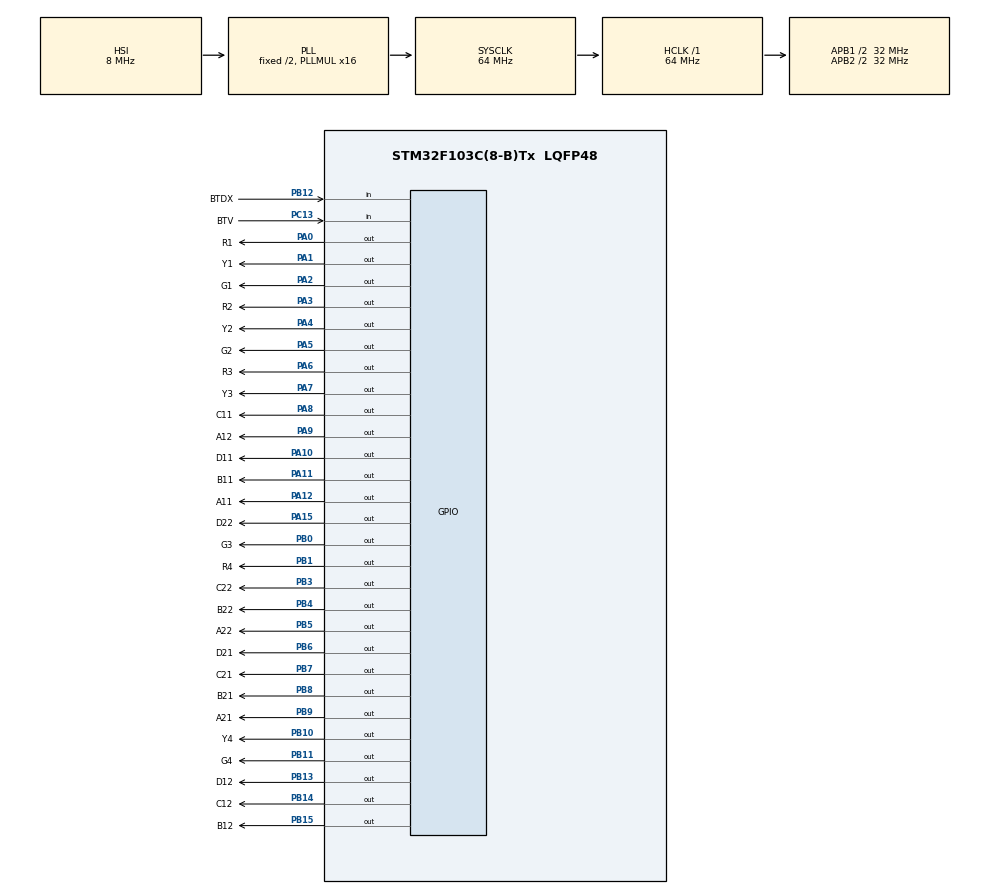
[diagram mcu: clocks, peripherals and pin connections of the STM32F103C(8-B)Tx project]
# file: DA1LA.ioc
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Mcu.Family=STM32F1
Mcu.Name=STM32F103C(8-B)Tx
Mcu.Package=LQFP48
NVIC.PriorityGroup=NVIC_PRIORITYGROUP_4
NVIC.TIM2_IRQn=true\:0\:0\:false\:false\:true\:true\:true
NVIC.TIM3_IRQn=true\:0\:0\:false\:false\:true\:true\:true
PA0-WKUP.GPIO_Label=R1
PA0-WKUP.GPIO_ModeDefaultOutputPP=GPIO_MODE_OUTPUT_PP
PA0-WKUP.GPIO_PuPd=GPIO_NOPULL
PA0-WKUP.GPIO_Speed=GPIO_SPEED_FREQ_HIGH
PA0-WKUP.PinState=GPIO_PIN_RESET
PA0-WKUP.Signal=GPIO_Output
PA1.GPIO_Label=Y1
PA1.GPIO_ModeDefaultOutputPP=GPIO_MODE_OUTPUT_PP
PA1.GPIO_PuPd=GPIO_NOPULL
PA1.GPIO_Speed=GPIO_SPEED_FREQ_HIGH
PA1.PinState=GPIO_PIN_RESET
PA1.Signal=GPIO_Output
PA10.GPIO_Label=D11
PA10.GPIO_ModeDefaultOutputPP=GPIO_MODE_OUTPUT_PP
PA10.GPIO_PuPd=GPIO_NOPULL
PA10.GPIO_Speed=GPIO_SPEED_FREQ_HIGH
PA10.PinState=GPIO_PIN_RESET
PA10.Signal=GPIO_Output
PA11.GPIO_Label=B11
PA11.GPIO_ModeDefaultOutputPP=GPIO_MODE_OUTPUT_PP
PA11.GPIO_PuPd=GPIO_NOPULL
PA11.GPIO_Speed=GPIO_SPEED_FREQ_HIGH
PA11.PinState=GPIO_PIN_RESET
PA11.Signal=GPIO_Output
PA12.GPIO_Label=A11
PA12.GPIO_ModeDefaultOutputPP=GPIO_MODE_OUTPUT_PP
PA12.GPIO_PuPd=GPIO_NOPULL
PA12.GPIO_Speed=GPIO_SPEED_FREQ_HIGH
PA12.PinState=GPIO_PIN_RESET
PA12.Signal=GPIO_Output
PA13.Mode=Serial_Wire
PA13.Signal=SYS_JTMS-SWDIO
PA14.Mode=Serial_Wire
PA14.Signal=SYS_JTCK-SWCLK
PA15.GPIO_Label=D22
PA15.GPIO_ModeDefaultOutputPP=GPIO_MODE_OUTPUT_PP
PA15.GPIO_PuPd=GPIO_NOPULL
PA15.GPIO_Speed=GPIO_SPEED_FREQ_HIGH
PA15.PinState=GPIO_PIN_RESET
PA15.Signal=GPIO_Output
PA2.GPIO_Label=G1
PA2.GPIO_ModeDefaultOutputPP=GPIO_MODE_OUTPUT_PP
PA2.GPIO_PuPd=GPIO_NOPULL
PA2.GPIO_Speed=GPIO_SPEED_FREQ_HIGH
PA2.PinState=GPIO_PIN_RESET
PA2.Signal=GPIO_Output
PA3.GPIO_Label=R2
PA3.GPIO_ModeDefaultOutputPP=GPIO_MODE_OUTPUT_PP
PA3.GPIO_PuPd=GPIO_NOPULL
PA3.GPIO_Speed=GPIO_SPEED_FREQ_HIGH
PA3.PinState=GPIO_PIN_RESET
PA3.Signal=GPIO_Output
PA4.GPIO_Label=Y2
PA4.GPIO_ModeDefaultOutputPP=GPIO_MODE_OUTPUT_PP
PA4.GPIO_PuPd=GPIO_NOPULL
PA4.GPIO_Speed=GPIO_SPEED_FREQ_HIGH
PA4.PinState=GPIO_PIN_RESET
PA4.Signal=GPIO_Output
PA5.GPIO_Label=G2
PA5.GPIO_ModeDefaultOutputPP=GPIO_MODE_OUTPUT_PP
PA5.GPIO_PuPd=GPIO_NOPULL
PA5.GPIO_Speed=GPIO_SPEED_FREQ_HIGH
PA5.PinState=GPIO_PIN_RESET
PA5.Signal=GPIO_Output
PA6.GPIO_Label=R3
PA6.GPIO_ModeDefaultOutputPP=GPIO_MODE_OUTPUT_PP
PA6.GPIO_PuPd=GPIO_NOPULL
PA6.GPIO_Speed=GPIO_SPEED_FREQ_HIGH
PA6.PinState=GPIO_PIN_RESET
PA6.Signal=GPIO_Output
PA7.GPIO_Label=Y3
PA7.GPIO_ModeDefaultOutputPP=GPIO_MODE_OUTPUT_PP
PA7.GPIO_PuPd=GPIO_NOPULL
PA7.GPIO_Speed=GPIO_SPEED_FREQ_HIGH
PA7.PinState=GPIO_PIN_RESET
PA7.Signal=GPIO_Output
PA8.GPIO_Label=C11
PA8.GPIO_ModeDefaultOutputPP=GPIO_MODE_OUTPUT_PP
PA8.GPIO_PuPd=GPIO_NOPULL
PA8.GPIO_Speed=GPIO_SPEED_FREQ_HIGH
PA8.PinState=GPIO_PIN_RESET
PA8.Signal=GPIO_Output
PA9.GPIO_Label=A12
PA9.GPIO_ModeDefaultOutputPP=GPIO_MODE_OUTPUT_PP
PA9.GPIO_PuPd=GPIO_NOPULL
PA9.GPIO_Speed=GPIO_SPEED_FREQ_HIGH
PA9.PinState=GPIO_PIN_RESET
PA9.Signal=GPIO_Output
PB0.GPIO_Label=G3
PB0.GPIO_ModeDefaultOutputPP=GPIO_MODE_OUTPUT_PP
PB0.GPIO_PuPd=GPIO_NOPULL
PB0.GPIO_Speed=GPIO_SPEED_FREQ_HIGH
PB0.PinState=GPIO_PIN_RESET
PB0.Signal=GPIO_Output
PB1.GPIO_Label=R4
PB1.GPIO_ModeDefaultOutputPP=GPIO_MODE_OUTPUT_PP
PB1.GPIO_PuPd=GPIO_NOPULL
PB1.GPIO_Speed=GPIO_SPEED_FREQ_HIGH
PB1.PinState=GPIO_PIN_RESET
PB1.Signal=GPIO_Output
PB10.GPIO_Label=Y4
PB10.GPIO_ModeDefaultOutputPP=GPIO_MODE_OUTPUT_PP
PB10.GPIO_PuPd=GPIO_NOPULL
PB10.GPIO_Speed=GPIO_SPEED_FREQ_HIGH
PB10.PinState=GPIO_PIN_RESET
PB10.Signal=GPIO_Output
PB11.GPIO_Label=G4
PB11.GPIO_ModeDefaultOutputPP=GPIO_MODE_OUTPUT_PP
PB11.GPIO_PuPd=GPIO_NOPULL
PB11.GPIO_Speed=GPIO_SPEED_FREQ_HIGH
PB11.PinState=GPIO_PIN_RESET
PB11.Signal=GPIO_Output
PB12.GPIO_Label=BTDX
PB12.GPIO_PuPd=GPIO_PULLUP
PB12.Signal=GPIO_Input
PB13.GPIO_Label=D12
PB13.GPIO_ModeDefaultOutputPP=GPIO_MODE_OUTPUT_PP
PB13.GPIO_PuPd=GPIO_NOPULL
PB13.GPIO_Speed=GPIO_SPEED_FREQ_HIGH
PB13.PinState=GPIO_PIN_RESET
PB13.Signal=GPIO_Output
PB14.GPIO_Label=C12
PB14.GPIO_ModeDefaultOutputPP=GPIO_MODE_OUTPUT_PP
PB14.GPIO_PuPd=GPIO_NOPULL
PB14.GPIO_Speed=GPIO_SPEED_FREQ_HIGH
PB14.PinState=GPIO_PIN_RESET
PB14.Signal=GPIO_Output
PB15.GPIO_Label=B12
PB15.GPIO_ModeDefaultOutputPP=GPIO_MODE_OUTPUT_PP
PB15.GPIO_PuPd=GPIO_NOPULL
PB15.GPIO_Speed=GPIO_SPEED_FREQ_HIGH
PB15.PinState=GPIO_PIN_RESET
PB15.Signal=GPIO_Output
PB3.GPIO_Label=C22
PB3.GPIO_ModeDefaultOutputPP=GPIO_MODE_OUTPUT_PP
PB3.GPIO_PuPd=GPIO_NOPULL
PB3.GPIO_Speed=GPIO_SPEED_FREQ_HIGH
PB3.PinState=GPIO_PIN_RESET
PB3.Signal=GPIO_Output
PB4.GPIO_Label=B22
PB4.GPIO_ModeDefaultOutputPP=GPIO_MODE_OUTPUT_PP
PB4.GPIO_PuPd=GPIO_NOPULL
PB4.GPIO_Speed=GPIO_SPEED_FREQ_HIGH
PB4.PinState=GPIO_PIN_RESET
PB4.Signal=GPIO_Output
PB5.GPIO_Label=A22
PB5.GPIO_ModeDefaultOutputPP=GPIO_MODE_OUTPUT_PP
PB5.GPIO_PuPd=GPIO_NOPULL
PB5.GPIO_Speed=GPIO_SPEED_FREQ_HIGH
PB5.PinState=GPIO_PIN_RESET
PB5.Signal=GPIO_Output
PB6.GPIO_Label=D21
PB6.GPIO_ModeDefaultOutputPP=GPIO_MODE_OUTPUT_PP
PB6.GPIO_PuPd=GPIO_NOPULL
PB6.GPIO_Speed=GPIO_SPEED_FREQ_HIGH
PB6.PinState=GPIO_PIN_RESET
PB6.Signal=GPIO_Output
PB7.GPIO_Label=C21
PB7.GPIO_ModeDefaultOutputPP=GPIO_MODE_OUTPUT_PP
PB7.GPIO_PuPd=GPIO_NOPULL
PB7.GPIO_Speed=GPIO_SPEED_FREQ_HIGH
PB7.PinState=GPIO_PIN_RESET
PB7.Signal=GPIO_Output
PB8.GPIO_Label=B21
PB8.GPIO_ModeDefaultOutputPP=GPIO_MODE_OUTPUT_PP
PB8.GPIO_PuPd=GPIO_NOPULL
PB8.GPIO_Speed=GPIO_SPEED_FREQ_HIGH
PB8.PinState=GPIO_PIN_RESET
PB8.Signal=GPIO_Output
PB9.GPIO_Label=A21
PB9.GPIO_ModeDefaultOutputPP=GPIO_MODE_OUTPUT_PP
PB9.GPIO_PuPd=GPIO_NOPULL
PB9.GPIO_Speed=GPIO_SPEED_FREQ_HIGH
PB9.PinState=GPIO_PIN_RESET
PB9.Signal=GPIO_Output
PC13-TAMPER-RTC.GPIO_Label=BTV
PC13-TAMPER-RTC.GPIO_PuPd=GPIO_PULLUP
PC13-TAMPER-RTC.Signal=GPIO_Input
ProjectManager.HeapSize=0x200
ProjectManager.StackSize=0x400
ProjectManager.TargetToolchain=EWARM V8.32
RCC.AHBFreq_Value=64000000
RCC.APB1CLKDivider=RCC_HCLK_DIV2
RCC.APB1Freq_Value=32000000
RCC.APB1TimFreq_Value=64000000
RCC.APB2CLKDivider=RCC_HCLK_DIV2
RCC.APB2Freq_Value=32000000
RCC.APB2TimFreq_Value=64000000
RCC.HCLKFreq_Value=64000000
RCC.PLLMUL=RCC_PLL_MUL16
RCC.SYSCLKFreq_VALUE=64000000
RCC.SYSCLKSource=RCC_SYSCLKSOURCE_PLLCLK
RCC.USBFreq_Value=64000000
TIM2.Period=19999
TIM2.Prescaler=64
TIM3.Period=1999
TIM3.Prescaler=23000
VP_TIM2_VS_ClockSourceINT.Mode=Internal
VP_TIM3_VS_ClockSourceINT.Mode=Internal
board=custom

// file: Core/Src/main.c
/* USER CODE BEGIN Header */
/**
  ******************************************************************************
  * @file           : main.c
  * @brief          : Main program body
  ******************************************************************************
  * @attention
  *
  * <h2><center>&copy; Copyright (c) 2021 STMicroelectronics.
  * All rights reserved.</center></h2>
  *
  * This software component is licensed by ST under BSD 3-Clause license,
  * the "License"; You may not use this file except in compliance with the
  * License. You may obtain a copy of the License at:
  *                        opensource.org/licenses/BSD-3-Clause
  *
  ******************************************************************************
  */
/* USER CODE END Header */
#include "main.h"

/* USER CODE BEGIN Includes */
#include "stdbool.h"
//7447 РФNG -TВY
//HАNG CHUC
#define A11(state) HAL_GPIO_WritePin(A11_GPIO_Port,A11_Pin,(GPIO_PinState)state)
#define B11(state) HAL_GPIO_WritePin(B11_GPIO_Port,B11_Pin,(GPIO_PinState)state)
#define C11(state) HAL_GPIO_WritePin(C11_GPIO_Port,C11_Pin,(GPIO_PinState)state)
#define D11(state) HAL_GPIO_WritePin(D11_GPIO_Port,D11_Pin,(GPIO_PinState)state)
//HANG DON VI
#define A12(state) HAL_GPIO_WritePin(A12_GPIO_Port,A12_Pin,(GPIO_PinState)state)
#define B12(state) HAL_GPIO_WritePin(B12_GPIO_Port,B12_Pin,(GPIO_PinState)state)
#define C12(state) HAL_GPIO_WritePin(C12_GPIO_Port,C12_Pin,(GPIO_PinState)state)
#define D12(state) HAL_GPIO_WritePin(D12_GPIO_Port,D12_Pin,(GPIO_PinState)state)
//7447 NAM-BAC
//HANG CHUC
#define A21(state) HAL_GPIO_WritePin(A21_GPIO_Port,A21_Pin,(GPIO_PinState)state)
#define B21(state) HAL_GPIO_WritePin(B21_GPIO_Port,B21_Pin,(GPIO_PinState)state)
#define C21(state) HAL_GPIO_WritePin(C21_GPIO_Port,C21_Pin,(GPIO_PinState)state)
#define D21(state) HAL_GPIO_WritePin(D21_GPIO_Port,D21_Pin,(GPIO_PinState)state)
//HANG DON VI
#define A22(state) HAL_GPIO_WritePin(A22_GPIO_Port,A22_Pin,(GPIO_PinState)state)
#define B22(state) HAL_GPIO_WritePin(B22_GPIO_Port,B22_Pin,(GPIO_PinState)state)
#define C22(state) HAL_GPIO_WritePin(C22_GPIO_Port,C22_Pin,(GPIO_PinState)state)
#define D22(state) HAL_GPIO_WritePin(D22_GPIO_Port,D22_Pin,(GPIO_PinState)state)
//BUTTON
#define BTV HAL_GPIO_ReadPin(BTV_GPIO_Port,BTV_Pin)
#define BTDX HAL_GPIO_ReadPin(BTDX_GPIO_Port,BTDX_Pin)
//LED D-X-V
#define R1(state) HAL_GPIO_WritePin(R1_GPIO_Port,R1_Pin,(GPIO_PinState)state)
#define Y1(state) HAL_GPIO_WritePin(Y1_GPIO_Port,Y1_Pin,(GPIO_PinState)state)
#define G1(state) HAL_GPIO_WritePin(G1_GPIO_Port,G1_Pin,(GPIO_PinState)state)

#define R2(state) HAL_GPIO_WritePin(R2_GPIO_Port,R2_Pin,(GPIO_PinState)state)
#define Y2(state) HAL_GPIO_WritePin(Y2_GPIO_Port,Y2_Pin,(GPIO_PinState)state)
#define G2(state) HAL_GPIO_WritePin(G2_GPIO_Port,G2_Pin,(GPIO_PinState)state)

#define R3(state) HAL_GPIO_WritePin(R3_GPIO_Port,R3_Pin,(GPIO_PinState)state)
#define Y3(state) HAL_GPIO_WritePin(Y3_GPIO_Port,Y3_Pin,(GPIO_PinState)state)
#define G3(state) HAL_GPIO_WritePin(G3_GPIO_Port,G3_Pin,(GPIO_PinState)state)

#define R4(state) HAL_GPIO_WritePin(R4_GPIO_Port,R4_Pin,(GPIO_PinState)state)
#define Y4(state) HAL_GPIO_WritePin(Y4_GPIO_Port,Y4_Pin,(GPIO_PinState)state)
#define G4(state) HAL_GPIO_WritePin(G4_GPIO_Port,G4_Pin,(GPIO_PinState)state)
/* USER CODE END Includes */

TIM_HandleTypeDef htim2;
TIM_HandleTypeDef htim3;

/* USER CODE BEGIN PV */
int seven_seg_digits[10][4] = {
                                { 0,0,0,0 },  // = 0//D   C  B  A//
                                { 0,0,0,1 },  // = 1//MSB       LSB//
                                { 0,0,1,0 },  // = 2
                                { 0,0,1,1 },  // = 3
                                { 0,1,0,0 },  // = 4
                                { 0,1,0,1 },  // = 5
                                { 0,1,1,0 },  // = 6
                                { 0,1,1,1 },  // = 7
                                { 1,0,0,0 },  // = 8
                                { 1,0,0,1 }   // = 9
                              };
uint8_t btn[2],stepbtnv=0,stepbtndx=0;
uint8_t step_do1=true,step_vang1=false,step_xanh1=false;
uint8_t step_do2=false,step_vang2=false,step_xanh2=true;
uint8_t cnt1=30,cnt2=25,cnt3=5;
uint8_t cnt4=30,cnt5=25,cnt6=5;
/* USER CODE END PV */

void SystemClock_Config(void);
static void MX_GPIO_Init(void);
static void MX_TIM2_Init(void);
static void MX_TIM3_Init(void);
/* USER CODE BEGIN PFP */
void disp1(uint8_t digit);
void disp2(uint8_t digit);
/* USER CODE END PFP */

/* USER CODE BEGIN 0 */
void disp1(uint8_t digit)
{
    //hangchuc
    A11(seven_seg_digits[digit%10][3]);
    B11(seven_seg_digits[digit%10][2]);
    C11(seven_seg_digits[digit%10][1]);
    D11(seven_seg_digits[digit%10][0]);

    A21(seven_seg_digits[digit/10][3]);
    B21(seven_seg_digits[digit/10][2]);
    C21(seven_seg_digits[digit/10][1]);
    D21(seven_seg_digits[digit/10][0]);

}
void disp2(uint8_t digit)
{
      //hangdonvi
    A12(seven_seg_digits[digit%10][3]);
    B12(seven_seg_digits[digit%10][2]);
    C12(seven_seg_digits[digit%10][1]);
    D12(seven_seg_digits[digit%10][0]);

    A22(seven_seg_digits[digit/10][3]);
    B22(seven_seg_digits[digit/10][2]);
    C22(seven_seg_digits[digit/10][1]);
    D22(seven_seg_digits[digit/10][0]);
}
void den1(void)
{
    if(step_do1==true)
    {
      R1(1);R3(1);
      Y1(0);Y3(0);
      G1(0);G3(0);
      disp1(cnt1);
      if(cnt1==0)
      {
        disp1(0);
        step_xanh1=true;
        cnt1=30;
        step_do1=false;

      }
      else
      {
        cnt1--;
      }
    }
    if(step_xanh1==true)
    {
      R1(0);R3(0);
      Y1(0);Y3(0);
      G1(1);G3(1);
      disp1(cnt2);
      if(cnt2==0)
      {
        disp1(0);
        step_vang1=true;
        cnt2=25;
        step_xanh1=false;
      }
      else
      {
        cnt2--;
      }
    }
    if(step_vang1==true)
    {
      R1(0);R3(0);
      Y1(1);Y3(1);
      G1(0);G3(0);
      disp1(cnt3);
      if(cnt3==0)
      {
        disp1(0);
        step_do1=true;
        cnt3=5;
        step_vang1=false;
      }
      else
      {
        cnt3--;
      }
    }
}
void den2(void)
{
    if(step_do2==true)
    {
      R2(1);R4(1);
      Y2(0);Y4(0);
      G2(0);G4(0);
      disp2(cnt4);
      if(cnt4==0)
      {
        disp2(0);
        step_xanh2=true;
        cnt4=30;
        step_do2=false;

      }
      else
      {
        cnt4--;
      }
    }
    if(step_xanh2==true)
    {
      R2(0);R4(0);
      Y2(0);Y4(0);
      G2(1);G4(1);
      disp2(cnt5);
      if(cnt5==0)
      {
        disp2(0);
        step_vang2=true;
        cnt5=25;
        step_xanh2=false;
      }
      else
      {
        cnt5--;
      }
    }
    if(step_vang2==true)
    {
      R2(0);R4(0);
      Y2(1);Y4(1);
      G2(0);G4(0);
      disp2(cnt6);
      if(cnt6==0)
      {
        disp2(0);
        step_do2=true;
        cnt6=5;
        step_vang2=false;
      }
      else
      {
        cnt6--;
      }
    }
}
void HAL_TIM_PeriodElapsedCallback(TIM_HandleTypeDef *htim)
{
  if(htim->Instance==htim3.Instance)
  {
    if(stepbtnv==0&&stepbtndx==0)
    {
      den1();
      den2();
    }
    else if(stepbtnv==1)
    {
      disp1(0);
      disp2(0);
      R1(0);R3(0);
      Y1(1);Y3(1);
      G1(0);G3(0);

      R2(0);R4(0);
      Y2(1);Y4(1);
      G2(0);G4(0);
    }
    else if(stepbtndx==1)
    {
      disp1(0);
      disp2(0);
      R1(1);R3(1);
      Y1(0);Y3(0);
      G1(0);G3(0);

      R2(0);R4(0);
      Y2(0);Y4(0);
      G2(1);G4(1);
    }
    else if(stepbtndx==2)
    {
      disp1(0);
      disp2(0);
      R1(0);R3(0);
      Y1(0);Y3(0);
      G1(1);G3(1);

      R2(1);R4(1);
      Y2(0);Y4(0);
      G2(0);G4(0);
    }
  }
}
/* USER CODE END 0 */

int main(void)
{

  /* MCU Configuration--------------------------------------------------------*/

  /* Reset of all peripherals, Initializes the Flash interface and the Systick. */
  HAL_Init();

  /* Configure the system clock */
  SystemClock_Config();

  /* Initialize all configured peripherals */
  MX_GPIO_Init();
  MX_TIM2_Init();
  MX_TIM3_Init();
  /* USER CODE BEGIN 2 */
  disp1(0);
  disp2(0);
  HAL_Delay(1000);
  HAL_TIM_Base_Start_IT(&htim2);
  HAL_TIM_Base_Start_IT(&htim3);
  /* USER CODE END 2 */

  /* Infinite loop */
  while (1)
  {

    /* USER CODE BEGIN 3 */
    btn[0]=BTV;
    btn[1]=BTDX;
    if(BTV==0)
    {
      HAL_Delay(80);
      if(BTV==0)
      {
        stepbtnv++;
        stepbtndx=0;
      }
    }
    if(BTDX==0)
    {
      HAL_Delay(80);
      if(BTDX==0)
      {
        stepbtndx++;
        stepbtnv=0;
      }
    }
    if(stepbtnv>1)stepbtnv=0;
    if(stepbtndx>2)stepbtndx=0;
  }
  /* USER CODE END 3 */
}

void SystemClock_Config(void)
{
  RCC_OscInitTypeDef RCC_OscInitStruct = {0};
  RCC_ClkInitTypeDef RCC_ClkInitStruct = {0};

  /** Initializes the RCC Oscillators according to the specified parameters
  * in the RCC_OscInitTypeDef structure.
  */
  RCC_OscInitStruct.OscillatorType = RCC_OSCILLATORTYPE_HSI;
  RCC_OscInitStruct.HSIState = RCC_HSI_ON;
  RCC_OscInitStruct.HSICalibrationValue = RCC_HSICALIBRATION_DEFAULT;
  RCC_OscInitStruct.PLL.PLLState = RCC_PLL_ON;
  RCC_OscInitStruct.PLL.PLLSource = RCC_PLLSOURCE_HSI_DIV2;
  RCC_OscInitStruct.PLL.PLLMUL = RCC_PLL_MUL16;
  if (HAL_RCC_OscConfig(&RCC_OscInitStruct) != HAL_OK)
  {
    Error_Handler();
  }
  /** Initializes the CPU, AHB and APB buses clocks
  */
  RCC_ClkInitStruct.ClockType = RCC_CLOCKTYPE_HCLK|RCC_CLOCKTYPE_SYSCLK
                              |RCC_CLOCKTYPE_PCLK1|RCC_CLOCKTYPE_PCLK2;
  RCC_ClkInitStruct.SYSCLKSource = RCC_SYSCLKSOURCE_PLLCLK;
  RCC_ClkInitStruct.AHBCLKDivider = RCC_SYSCLK_DIV1;
  RCC_ClkInitStruct.APB1CLKDivider = RCC_HCLK_DIV2;
  RCC_ClkInitStruct.APB2CLKDivider = RCC_HCLK_DIV2;

  if (HAL_RCC_ClockConfig(&RCC_ClkInitStruct, FLASH_LATENCY_2) != HAL_OK)
  {
    Error_Handler();
  }
}

static void MX_TIM2_Init(void)
{

  TIM_ClockConfigTypeDef sClockSourceConfig = {0};
  TIM_MasterConfigTypeDef sMasterConfig = {0};

  htim2.Instance = TIM2;
  htim2.Init.Prescaler = 64;
  htim2.Init.CounterMode = TIM_COUNTERMODE_UP;
  htim2.Init.Period = 19999;
  htim2.Init.ClockDivision = TIM_CLOCKDIVISION_DIV1;
  htim2.Init.AutoReloadPreload = TIM_AUTORELOAD_PRELOAD_DISABLE;
  if (HAL_TIM_Base_Init(&htim2) != HAL_OK)
  {
    Error_Handler();
  }
  sClockSourceConfig.ClockSource = TIM_CLOCKSOURCE_INTERNAL;
  if (HAL_TIM_ConfigClockSource(&htim2, &sClockSourceConfig) != HAL_OK)
  {
    Error_Handler();
  }
  sMasterConfig.MasterOutputTrigger = TIM_TRGO_RESET;
  sMasterConfig.MasterSlaveMode = TIM_MASTERSLAVEMODE_DISABLE;
  if (HAL_TIMEx_MasterConfigSynchronization(&htim2, &sMasterConfig) != HAL_OK)
  {
    Error_Handler();
  }

}

static void MX_TIM3_Init(void)
{

  TIM_ClockConfigTypeDef sClockSourceConfig = {0};
  TIM_MasterConfigTypeDef sMasterConfig = {0};

  htim3.Instance = TIM3;
  htim3.Init.Prescaler = 23000;
  htim3.Init.CounterMode = TIM_COUNTERMODE_UP;
  htim3.Init.Period = 1999;
  htim3.Init.ClockDivision = TIM_CLOCKDIVISION_DIV1;
  htim3.Init.AutoReloadPreload = TIM_AUTORELOAD_PRELOAD_DISABLE;
  if (HAL_TIM_Base_Init(&htim3) != HAL_OK)
  {
    Error_Handler();
  }
  sClockSourceConfig.ClockSource = TIM_CLOCKSOURCE_INTERNAL;
  if (HAL_TIM_ConfigClockSource(&htim3, &sClockSourceConfig) != HAL_OK)
  {
    Error_Handler();
  }
  sMasterConfig.MasterOutputTrigger = TIM_TRGO_RESET;
  sMasterConfig.MasterSlaveMode = TIM_MASTERSLAVEMODE_DISABLE;
  if (HAL_TIMEx_MasterConfigSynchronization(&htim3, &sMasterConfig) != HAL_OK)
  {
    Error_Handler();
  }

}

static void MX_GPIO_Init(void)
{
  GPIO_InitTypeDef GPIO_InitStruct = {0};

  /* GPIO Ports Clock Enable */
  __HAL_RCC_GPIOC_CLK_ENABLE();
  __HAL_RCC_GPIOA_CLK_ENABLE();
  __HAL_RCC_GPIOB_CLK_ENABLE();

  /*Configure GPIO pin Output Level */
  HAL_GPIO_WritePin(GPIOA, R1_Pin|Y1_Pin|G1_Pin|R2_Pin
                          |Y2_Pin|G2_Pin|R3_Pin|Y3_Pin
                          |C11_Pin|A12_Pin|D11_Pin|B11_Pin
                          |A11_Pin|D22_Pin, GPIO_PIN_RESET);

  /*Configure GPIO pin Output Level */
  HAL_GPIO_WritePin(GPIOB, G3_Pin|R4_Pin|Y4_Pin|G4_Pin
                          |D12_Pin|C12_Pin|B12_Pin|C22_Pin
                          |B22_Pin|A22_Pin|D21_Pin|C21_Pin
                          |B21_Pin|A21_Pin, GPIO_PIN_RESET);

  /*Configure GPIO pin : BTV_Pin */
  GPIO_InitStruct.Pin = BTV_Pin;
  GPIO_InitStruct.Mode = GPIO_MODE_INPUT;
  GPIO_InitStruct.Pull = GPIO_PULLUP;
  HAL_GPIO_Init(BTV_GPIO_Port, &GPIO_InitStruct);

  /*Configure GPIO pins : R1_Pin Y1_Pin G1_Pin R2_Pin
                           Y2_Pin G2_Pin R3_Pin Y3_Pin
                           C11_Pin A12_Pin D11_Pin B11_Pin
                           A11_Pin D22_Pin */
  GPIO_InitStruct.Pin = R1_Pin|Y1_Pin|G1_Pin|R2_Pin
                          |Y2_Pin|G2_Pin|R3_Pin|Y3_Pin
                          |C11_Pin|A12_Pin|D11_Pin|B11_Pin
                          |A11_Pin|D22_Pin;
  GPIO_InitStruct.Mode = GPIO_MODE_OUTPUT_PP;
  GPIO_InitStruct.Pull = GPIO_NOPULL;
  GPIO_InitStruct.Speed = GPIO_SPEED_FREQ_HIGH;
  HAL_GPIO_Init(GPIOA, &GPIO_InitStruct);

  /*Configure GPIO pins : G3_Pin R4_Pin Y4_Pin G4_Pin
                           D12_Pin C12_Pin B12_Pin C22_Pin
                           B22_Pin A22_Pin D21_Pin C21_Pin
                           B21_Pin A21_Pin */
  GPIO_InitStruct.Pin = G3_Pin|R4_Pin|Y4_Pin|G4_Pin
                          |D12_Pin|C12_Pin|B12_Pin|C22_Pin
                          |B22_Pin|A22_Pin|D21_Pin|C21_Pin
                          |B21_Pin|A21_Pin;
  GPIO_InitStruct.Mode = GPIO_MODE_OUTPUT_PP;
  GPIO_InitStruct.Pull = GPIO_NOPULL;
  GPIO_InitStruct.Speed = GPIO_SPEED_FREQ_HIGH;
  HAL_GPIO_Init(GPIOB, &GPIO_InitStruct);

  /*Configure GPIO pin : BTDX_Pin */
  GPIO_InitStruct.Pin = BTDX_Pin;
  GPIO_InitStruct.Mode = GPIO_MODE_INPUT;
  GPIO_InitStruct.Pull = GPIO_PULLUP;
  HAL_GPIO_Init(BTDX_GPIO_Port, &GPIO_InitStruct);

}

void Error_Handler(void)
{
  __disable_irq();
  while (1)
  {
  }
}

/************************ (C) COPYRIGHT STMicroelectronics *****END OF FILE****/
